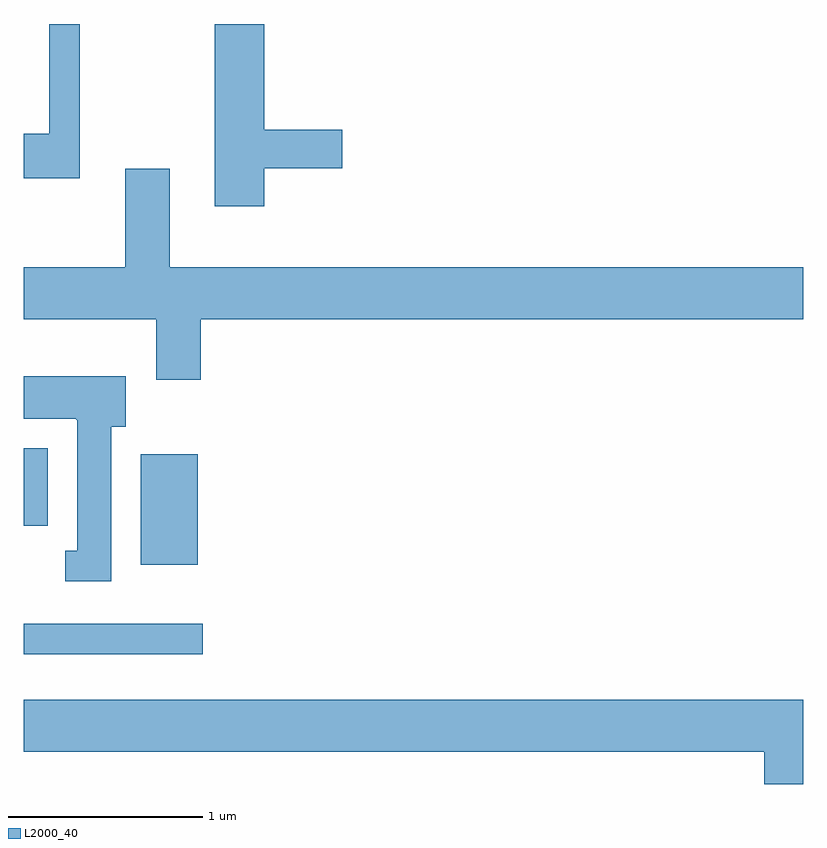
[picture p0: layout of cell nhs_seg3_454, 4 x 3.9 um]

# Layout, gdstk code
import gdstk
lib = gdstk.Library(unit=1e-6, precision=1e-09)
def R(c, l, rs):  # rectangles x0, y0, x1, y1
    for r in rs: c.add(gdstk.rectangle(r[:2], r[2:], *l))
def P(c, l, *ps):  # polygons
    for p in ps: c.add(gdstk.Polygon(p, *l))
L2000_40 = (2000, 40)

nhs_seg3_454 = lib.new_cell('nhs_seg3_454')
R(nhs_seg3_454, L2000_40, [(197.611,1208.656,198.528,1208.814), (198.211,1209.116,198.504,1209.684), (197.611,1209.316,197.734,1209.714)])
P(nhs_seg3_454, L2000_40, [(198.844,1211.151),(199.244,1211.151),(199.244,1211.349),(198.844,1211.349),(198.844,1211.892),(198.591,1211.892),(198.591,1210.956),(198.844,1210.956)],
  [(197.899,1211.892),(197.741,1211.892),(197.741,1211.329),(197.611,1211.329),(197.611,1211.101),(197.899,1211.101)],
  [(198.519,1210.376),(201.611,1210.376),(201.611,1210.644),(198.359,1210.644),(198.359,1211.149),(198.131,1211.149),(198.131,1210.644),(197.611,1210.644),(197.611,1210.376),(198.291,1210.376),(198.291,1210.066),(198.519,1210.066)],
  [(198.059,1209.826),(198.134,1209.826),(198.134,1210.084),(197.611,1210.084),(197.611,1209.866),(197.88,1209.866),(197.88,1209.86),(197.886,1209.86),(197.886,1209.189),(197.823,1209.189),(197.823,1209.031),(198.059,1209.031)],
  [(201.611,1208.424),(197.611,1208.424),(197.611,1208.156),(201.411,1208.156),(201.411,1207.991),(201.611,1207.991)])

lib.write_gds('nhs_seg3_454.gds')
